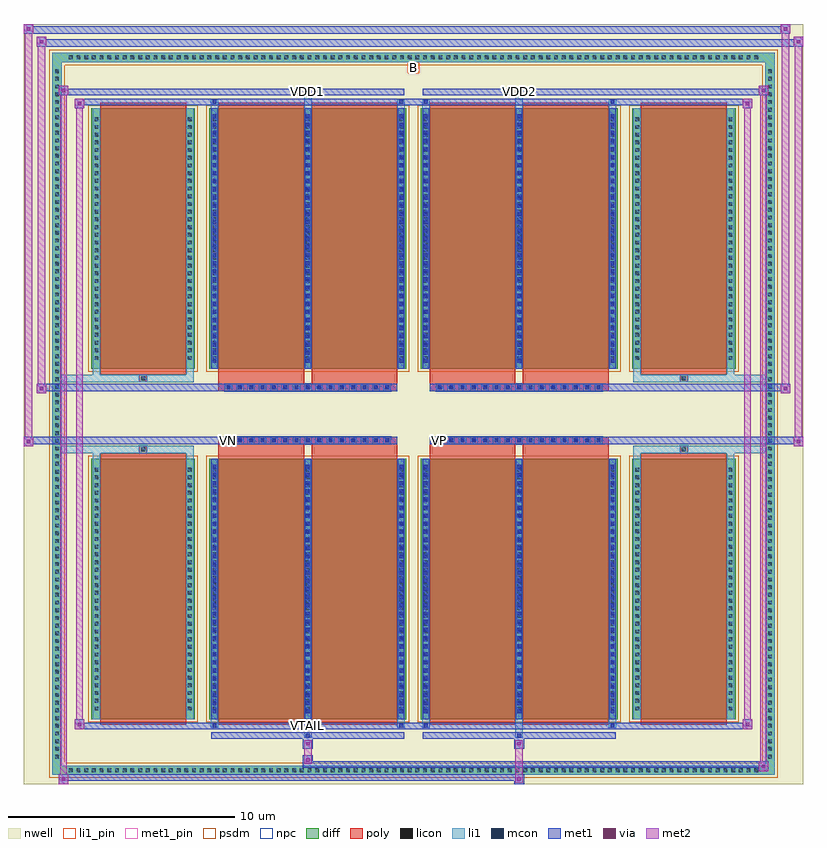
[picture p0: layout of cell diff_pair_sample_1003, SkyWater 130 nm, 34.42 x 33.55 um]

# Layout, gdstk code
import gdstk
lib = gdstk.Library(unit=1e-6, precision=5e-09)
def R(c, l, rs):  # rectangles x0, y0, x1, y1
    for r in rs: c.add(gdstk.rectangle(r[:2], r[2:], *l))
def A(c, l, x, y, w, h, nx, ny, dx, dy):  # array of equal rectangles
    R(c, l, [(x+i*dx, y+j*dy, x+i*dx+w, y+j*dy+h) for i in range(nx) for j in range(ny)])
def P(c, l, *ps):  # polygons
    for p in ps: c.add(gdstk.Polygon(p, *l))
nwell = (64, 20)
diff = (65, 20)
poly = (66, 20)
licon = (66, 44)
li1_pin = (67, 16)
li1 = (67, 20)
mcon = (67, 44)
met1_pin = (68, 16)
met1 = (68, 20)
via = (68, 44)
met2 = (69, 20)
psdm = (94, 20)
npc = (95, 20)

diff_pair_sample_1003 = lib.new_cell('diff_pair_sample_1003')
R(diff_pair_sample_1003, nwell, [(-17.21,-16.34,17.21,17.21), (-14.53,-14.53,-0.01,-0.805), (0.01,-14.53,14.53,-0.805), (-14.53,0.805,-0.01,14.53), (0.01,0.805,14.53,14.53)])
A(diff_pair_sample_1003, diff, -15.335, -15.94, 0.41, 0.41, 90, 2, 0.34, 31.47)
A(diff_pair_sample_1003, diff, -15.94, -15.335, 0.41, 0.41, 1, 90, 0, 0.34)
A(diff_pair_sample_1003, diff, 15.53, -15.335, 0.41, 0.41, 1, 90, 0, 0.34)
R(diff_pair_sample_1003, diff, [(-15.335,-15.94,15.335,-15.53), (-15.94,-15.335,-15.53,15.335), (15.53,-15.335,15.94,15.335), (-14.22,-13.485,-9.65,-1.985), (-9.01,-13.485,-0.32,-1.985), (0.32,-13.485,9.01,-1.985), (9.65,-13.485,14.22,-1.985), (-14.22,1.985,-9.65,13.485), (-9.01,1.985,-0.32,13.485), (0.32,1.985,9.01,13.485), (9.65,1.985,14.22,13.485), (-15.335,15.53,15.335,15.94)])
P(diff_pair_sample_1003, diff, [(15.94,15.94),(-15.94,15.94),(-15.94,-15.53),(-15.53,-15.53),(-15.53,15.53),(15.53,15.53),(15.53,-15.53),(-15.53,-15.53),(-15.94,-15.53),(-15.94,-15.94),(15.94,-15.94)])
A(diff_pair_sample_1003, poly, -8.33, -1.335, 0.33, 0.33, 15, 2, 0.5, 2.34)
A(diff_pair_sample_1003, poly, 1, -1.335, 0.33, 0.33, 15, 2, 0.5, 2.34)
R(diff_pair_sample_1003, poly, [(-13.83,-13.735,-10.04,-1.735), (-8.62,-13.735,-4.83,-1.735), (-4.5,-13.735,-0.71,-1.735), (0.71,-13.735,4.5,-1.735), (4.83,-13.735,8.62,-1.735), (10.04,-13.735,13.83,-1.735), (-12.1,-1.735,-11.77,-1.405), (-12.1,-1.735,-11.77,-1.405), (-8.62,-1.735,-4.83,-1.335), (-4.5,-1.735,-0.71,-1.335), (0.71,-1.735,4.5,-1.335), (4.83,-1.735,8.62,-1.335), (11.77,-1.735,12.1,-1.405), (11.77,-1.735,12.1,-1.405), (-8.62,-1.335,-0.71,-1.005), (0.71,-1.335,8.62,-1.005), (-8.62,1.005,-0.71,1.335), (0.71,1.005,8.62,1.335), (-8.62,1.335,-4.83,1.735), (-4.5,1.335,-0.71,1.735), (0.71,1.335,4.5,1.735), (4.83,1.335,8.62,1.735), (-12.1,1.405,-11.77,1.735), (-12.1,1.405,-11.77,1.735), (11.77,1.405,12.1,1.735), (11.77,1.405,12.1,1.735), (-13.83,1.735,-10.04,13.735), (-8.62,1.735,-4.83,13.735), (-4.5,1.735,-0.71,13.735), (0.71,1.735,4.5,13.735), (4.83,1.735,8.62,13.735), (10.04,1.735,13.83,13.735)])
A(diff_pair_sample_1003, licon, -15.215, -15.82, 0.17, 0.17, 90, 2, 0.34, 31.47)
A(diff_pair_sample_1003, licon, -15.82, -15.215, 0.17, 0.17, 1, 90, 0, 0.34)
A(diff_pair_sample_1003, licon, 15.65, -15.215, 0.17, 0.17, 1, 90, 0, 0.34)
A(diff_pair_sample_1003, licon, -14.08, -13.09, 0.17, 0.17, 1, 32, 0, 0.34)
A(diff_pair_sample_1003, licon, -9.96, -13.09, 0.17, 0.17, 1, 32, 0, 0.34)
A(diff_pair_sample_1003, licon, -8.87, -13.09, 0.17, 0.17, 3, 32, 4.12, 0.34)
A(diff_pair_sample_1003, licon, 0.46, -13.09, 0.17, 0.17, 3, 32, 4.12, 0.34)
A(diff_pair_sample_1003, licon, 9.79, -13.09, 0.17, 0.17, 1, 32, 0, 0.34)
A(diff_pair_sample_1003, licon, 13.91, -13.09, 0.17, 0.17, 1, 32, 0, 0.34)
A(diff_pair_sample_1003, licon, -8.25, -1.255, 0.17, 0.17, 15, 2, 0.5, 2.34)
A(diff_pair_sample_1003, licon, 1.08, -1.255, 0.17, 0.17, 15, 2, 0.5, 2.34)
A(diff_pair_sample_1003, licon, -14.08, 2.38, 0.17, 0.17, 1, 32, 0, 0.34)
A(diff_pair_sample_1003, licon, -9.96, 2.38, 0.17, 0.17, 1, 32, 0, 0.34)
A(diff_pair_sample_1003, licon, -8.87, 2.38, 0.17, 0.17, 3, 32, 4.12, 0.34)
A(diff_pair_sample_1003, licon, 0.46, 2.38, 0.17, 0.17, 3, 32, 4.12, 0.34)
A(diff_pair_sample_1003, licon, 9.79, 2.38, 0.17, 0.17, 1, 32, 0, 0.34)
A(diff_pair_sample_1003, licon, 13.91, 2.38, 0.17, 0.17, 1, 32, 0, 0.34)
R(diff_pair_sample_1003, licon, [(-12.02,-1.655,-11.85,-1.485), (11.85,-1.655,12.02,-1.485), (-12.02,1.485,-11.85,1.655), (11.85,1.485,12.02,1.655)])
R(diff_pair_sample_1003, li1_pin, [(-0.25,15.03,0.25,15.53)])
A(diff_pair_sample_1003, li1, -15.295, -15.9, 0.33, 0.33, 90, 2, 0.34, 31.47)
A(diff_pair_sample_1003, li1, -15.9, -15.295, 0.33, 0.33, 1, 90, 0, 0.34)
A(diff_pair_sample_1003, li1, 15.57, -15.295, 0.33, 0.33, 1, 90, 0, 0.34)
A(diff_pair_sample_1003, li1, -8.95, -13.485, 0.33, 11.5, 3, 2, 4.12, 15.47)
A(diff_pair_sample_1003, li1, 0.38, -13.485, 0.33, 11.5, 3, 2, 4.12, 15.47)
A(diff_pair_sample_1003, li1, -8.87, -13.22, 0.17, 0.17, 3, 31, 4.12, 0.36)
A(diff_pair_sample_1003, li1, -8.87, -13.22, 0.17, 10.97, 3, 2, 4.12, 15.47)
A(diff_pair_sample_1003, li1, 0.46, -13.22, 0.17, 0.17, 3, 31, 4.12, 0.36)
A(diff_pair_sample_1003, li1, 0.46, -13.22, 0.17, 10.97, 3, 2, 4.12, 15.47)
A(diff_pair_sample_1003, li1, -14.16, -13.17, 0.33, 0.33, 1, 32, 0, 0.34)
A(diff_pair_sample_1003, li1, -10.04, -13.17, 0.33, 0.33, 1, 32, 0, 0.34)
A(diff_pair_sample_1003, li1, -8.95, -13.17, 0.33, 0.33, 3, 32, 4.12, 0.34)
A(diff_pair_sample_1003, li1, 0.38, -13.17, 0.33, 0.33, 3, 32, 4.12, 0.34)
A(diff_pair_sample_1003, li1, 9.71, -13.17, 0.33, 0.33, 1, 32, 0, 0.34)
A(diff_pair_sample_1003, li1, 13.83, -13.17, 0.33, 0.33, 1, 32, 0, 0.34)
A(diff_pair_sample_1003, li1, -8.33, -1.335, 0.33, 0.33, 15, 2, 0.5, 2.34)
A(diff_pair_sample_1003, li1, 1, -1.335, 0.33, 0.33, 15, 2, 0.5, 2.34)
A(diff_pair_sample_1003, li1, -8.87, 2.25, 0.17, 0.17, 3, 31, 4.12, 0.36)
A(diff_pair_sample_1003, li1, 0.46, 2.25, 0.17, 0.17, 3, 31, 4.12, 0.36)
A(diff_pair_sample_1003, li1, -14.16, 2.3, 0.33, 0.33, 1, 32, 0, 0.34)
A(diff_pair_sample_1003, li1, -10.04, 2.3, 0.33, 0.33, 1, 32, 0, 0.34)
A(diff_pair_sample_1003, li1, -8.95, 2.3, 0.33, 0.33, 3, 32, 4.12, 0.34)
A(diff_pair_sample_1003, li1, 0.38, 2.3, 0.33, 0.33, 3, 32, 4.12, 0.34)
A(diff_pair_sample_1003, li1, 9.71, 2.3, 0.33, 0.33, 1, 32, 0, 0.34)
A(diff_pair_sample_1003, li1, 13.83, 2.3, 0.33, 0.33, 1, 32, 0, 0.34)
R(diff_pair_sample_1003, li1, [(-15.94,-15.94,-15.53,-15.53), (-15.94,-15.94,-15.53,-15.53), (-15.53,-15.94,15.53,-15.53), (15.53,-15.94,15.94,-15.53), (15.53,-15.94,15.94,-15.53), (-15.94,-15.53,-15.53,15.53), (15.53,-15.53,15.94,15.53), (-4.83,-14.29,-4.5,-13.485), (-4.75,-14.29,-4.58,-14.12), (4.5,-14.29,4.83,-13.485), (4.58,-14.29,4.75,-14.12), (-8.95,-13.86,-8.62,-13.485), (-8.87,-13.86,-8.7,-13.69), (-0.71,-13.86,-0.38,-13.485), (-0.63,-13.86,-0.46,-13.69), (0.38,-13.86,0.71,-13.485), (0.46,-13.86,0.63,-13.69), (8.62,-13.86,8.95,-13.485), (8.7,-13.86,8.87,-13.69), (-14.16,-13.485,-13.83,-1.985), (-10.04,-13.485,-9.71,-1.985), (9.71,-13.485,10.04,-1.985), (13.83,-13.485,14.16,-1.985), (-14.16,-1.985,-13.83,-1.405), (-10.04,-1.985,-9.71,-1.405), (9.71,-1.985,10.04,-1.405), (13.83,-1.985,14.16,-1.405), (-15.94,-1.735,-12.1,-1.405), (-14.16,-1.735,-12.1,-1.405), (-12.1,-1.735,-11.77,-1.405), (-11.77,-1.735,-9.71,-1.405), (9.71,-1.735,11.77,-1.405), (11.77,-1.735,12.1,-1.405), (11.77,-1.735,15.94,-1.405), (12.1,-1.735,14.16,-1.405), (-15.94,1.405,-12.1,1.735), (-14.16,1.405,-12.1,1.735), (-14.16,1.405,-13.83,1.985), (-12.1,1.405,-11.77,1.735), (-11.77,1.405,-9.71,1.735), (-10.04,1.405,-9.71,1.985), (9.71,1.405,11.77,1.735), (9.71,1.405,10.04,1.985), (11.77,1.405,12.1,1.735), (11.77,1.405,15.94,1.735), (12.1,1.405,14.16,1.735), (13.83,1.405,14.16,1.985), (-14.16,1.985,-13.83,13.485), (-10.04,1.985,-9.71,13.485), (9.71,1.985,10.04,13.485), (13.83,1.985,14.16,13.485), (-8.95,13.485,-8.62,13.86), (-4.83,13.485,-4.5,14.29), (-0.71,13.485,-0.38,13.86), (0.38,13.485,0.71,13.86), (4.5,13.485,4.83,14.29), (8.62,13.485,8.95,13.86), (-8.87,13.69,-8.7,13.86), (-0.63,13.69,-0.46,13.86), (0.46,13.69,0.63,13.86), (8.7,13.69,8.87,13.86), (-4.75,14.12,-4.58,14.29), (4.58,14.12,4.75,14.29), (-15.94,15.53,-15.53,15.94), (-15.94,15.53,-15.53,15.94), (-15.53,15.53,15.53,15.94), (15.53,15.53,15.94,15.94), (15.53,15.53,15.94,15.94)])
A(diff_pair_sample_1003, mcon, -8.87, -13.22, 0.17, 0.17, 3, 31, 4.12, 0.36)
A(diff_pair_sample_1003, mcon, 0.46, -13.22, 0.17, 0.17, 3, 31, 4.12, 0.36)
A(diff_pair_sample_1003, mcon, -8.25, -1.255, 0.17, 0.17, 15, 2, 0.5, 2.34)
A(diff_pair_sample_1003, mcon, 1.08, -1.255, 0.17, 0.17, 15, 2, 0.5, 2.34)
A(diff_pair_sample_1003, mcon, -8.87, 2.25, 0.17, 0.17, 3, 31, 4.12, 0.36)
A(diff_pair_sample_1003, mcon, 0.46, 2.25, 0.17, 0.17, 3, 31, 4.12, 0.36)
R(diff_pair_sample_1003, mcon, [(-4.75,-14.29,-4.58,-14.12), (4.58,-14.29,4.75,-14.12), (-8.87,-13.86,-8.7,-13.69), (-0.63,-13.86,-0.46,-13.69), (0.46,-13.86,0.63,-13.69), (8.7,-13.86,8.87,-13.69), (-8.87,13.69,-8.7,13.86), (-0.63,13.69,-0.46,13.86), (0.46,13.69,0.63,13.86), (8.7,13.69,8.87,13.86), (-4.75,14.12,-4.58,14.29), (4.58,14.12,4.75,14.29)])
R(diff_pair_sample_1003, met1_pin, [(-4.8,-13.9,-4.53,-13.63), (-8.3,-1.295,-8.03,-1.025), (1.03,-1.295,1.3,-1.025), (-4.8,14.08,-4.53,14.35), (4.53,14.08,4.8,14.35)])
A(diff_pair_sample_1003, met1, -8.93, -13.485, 0.29, 11.5, 3, 2, 4.12, 15.47)
A(diff_pair_sample_1003, met1, 0.4, -13.485, 0.29, 11.5, 3, 2, 4.12, 15.47)
A(diff_pair_sample_1003, met1, -8.93, -13.28, 0.29, 0.29, 3, 31, 4.12, 0.36)
A(diff_pair_sample_1003, met1, 0.4, -13.28, 0.29, 0.29, 3, 31, 4.12, 0.36)
A(diff_pair_sample_1003, met1, -8.31, -1.315, 0.29, 0.29, 15, 2, 0.5, 2.34)
A(diff_pair_sample_1003, met1, 1.02, -1.315, 0.29, 0.29, 15, 2, 0.5, 2.34)
A(diff_pair_sample_1003, met1, -8.93, 2.19, 0.29, 0.29, 3, 31, 4.12, 0.36)
A(diff_pair_sample_1003, met1, 0.4, 2.19, 0.29, 0.29, 3, 31, 4.12, 0.36)
R(diff_pair_sample_1003, met1, [(-15.67,-16.34,-15.24,-15.91), (4.45,-16.34,4.88,-15.91), (-15.67,-16.2,4.88,-15.91), (15.24,-15.77,15.67,-15.34), (-4.88,-15.63,15.67,-15.34), (-4.88,-15.49,-4.45,-15.06), (-4.88,-14.78,-4.45,-14.35), (4.45,-14.78,4.88,-14.35), (-8.93,-14.35,-0.4,-14.06), (-4.81,-14.35,-4.52,-14.06), (0.4,-14.35,8.93,-14.06), (4.52,-14.35,4.81,-14.06), (-14.96,-13.92,-14.53,-13.49), (-14.96,-13.92,-8.93,-13.63), (-8.93,-13.92,-8.64,-13.63), (-8.93,-13.92,-0.4,-13.63), (-0.69,-13.92,-0.4,-13.63), (-0.4,-13.92,0.4,-13.63), (0.4,-13.92,0.69,-13.63), (0.4,-13.92,8.93,-13.63), (8.64,-13.92,8.93,-13.63), (8.93,-13.92,14.96,-13.63), (14.53,-13.92,14.96,-13.49), (-17.21,-1.435,-16.78,-1.005), (16.78,-1.435,17.21,-1.005), (-17.21,-1.335,-0.71,-1.005), (-8.62,-1.335,-0.71,-1.005), (0.71,-1.335,8.62,-1.005), (0.71,-1.335,17.21,-1.005), (-16.64,0.905,-16.21,1.335), (16.21,0.905,16.64,1.335), (-16.64,1.005,-8.62,1.335), (-8.62,1.005,-0.71,1.335), (0.71,1.005,8.62,1.335), (8.62,1.005,16.64,1.335), (-14.96,13.49,-14.53,13.92), (14.53,13.49,14.96,13.92), (-14.96,13.63,-8.93,13.92), (-8.93,13.63,-8.64,13.92), (-8.93,13.63,-0.4,13.92), (-0.69,13.63,-0.4,13.92), (-0.4,13.63,0.4,13.92), (0.4,13.63,0.69,13.92), (0.4,13.63,8.93,13.92), (8.64,13.63,8.93,13.92), (8.93,13.63,14.96,13.92), (-15.67,14.06,-15.24,14.49), (-15.67,14.06,-8.93,14.35), (-8.93,14.06,-0.4,14.35), (-4.81,14.06,-4.52,14.35), (0.4,14.06,8.93,14.35), (4.52,14.06,4.81,14.35), (8.93,14.06,15.67,14.35), (15.24,14.06,15.67,14.49), (-16.64,16.21,-16.21,16.64), (-16.64,16.21,-14.53,16.54), (-14.53,16.21,14.53,16.54), (14.53,16.21,17.21,16.54), (16.78,16.21,17.21,16.64), (-17.21,16.78,-16.78,17.21), (-17.21,16.78,-14.53,17.11), (-14.53,16.78,14.53,17.11), (14.53,16.78,16.64,17.11), (16.21,16.78,16.64,17.21)])
R(diff_pair_sample_1003, via, [(-15.53,-16.2,-15.38,-16.05), (4.59,-16.2,4.74,-16.05), (15.38,-15.63,15.53,-15.48), (-4.74,-15.35,-4.59,-15.2), (-4.74,-14.64,-4.59,-14.49), (4.59,-14.64,4.74,-14.49), (-14.82,-13.78,-14.67,-13.63), (14.67,-13.78,14.82,-13.63), (-17.07,-1.295,-16.92,-1.145), (16.92,-1.295,17.07,-1.145), (-16.5,1.045,-16.35,1.195), (16.35,1.045,16.5,1.195), (-14.82,13.63,-14.67,13.78), (14.67,13.63,14.82,13.78), (-15.53,14.2,-15.38,14.35), (15.38,14.2,15.53,14.35), (-16.5,16.35,-16.35,16.5), (16.92,16.35,17.07,16.5), (-17.07,16.92,-16.92,17.07), (16.35,16.92,16.5,17.07)])
R(diff_pair_sample_1003, met2, [(-15.67,-16.34,-15.24,-15.91), (-15.6,-16.34,-15.31,14.49), (-15.31,-16.34,-15.24,-15.91), (-15.62,-16.29,-15.29,-15.96), (4.5,-16.29,4.83,-15.96), (4.5,-15.96,4.83,-14.73), (15.24,-15.77,15.67,-15.34), (15.31,-15.77,15.6,14.49), (15.6,-15.77,15.67,-15.34), (15.29,-15.72,15.62,-15.39), (-4.83,-15.44,-4.5,-15.11), (-4.83,-15.11,-4.5,-14.73), (-4.83,-14.73,-4.5,-14.4), (4.5,-14.73,4.83,-14.4), (-14.96,-13.92,-14.53,-13.49), (-14.89,-13.92,-14.6,13.92), (-14.6,-13.92,-14.53,-13.49), (14.53,-13.92,14.96,-13.49), (14.6,-13.92,14.89,13.92), (14.89,-13.92,14.96,-13.49), (-14.91,-13.87,-14.58,-13.54), (14.58,-13.87,14.91,-13.54), (-17.21,-1.435,-16.78,-1.005), (-17.16,-1.435,-16.83,17.21), (-16.83,-1.435,-16.78,-1.005), (16.78,-1.435,17.21,-1.005), (16.83,-1.435,17.16,16.64), (17.16,-1.435,17.21,-1.005), (-17.16,-1.385,-16.83,-1.055), (16.83,-1.385,17.16,-1.055), (-16.64,0.905,-16.21,1.335), (-16.59,0.905,-16.26,16.64), (-16.26,0.905,-16.21,1.335), (16.21,0.905,16.64,1.335), (16.26,0.905,16.59,17.21), (16.59,0.905,16.64,1.335), (-16.59,0.955,-16.26,1.285), (16.26,0.955,16.59,1.285), (-14.96,13.49,-14.53,13.92), (-14.6,13.49,-14.53,13.92), (14.53,13.49,14.96,13.92), (14.89,13.49,14.96,13.92), (-14.91,13.54,-14.58,13.87), (14.58,13.54,14.91,13.87), (-15.67,14.06,-15.24,14.49), (-15.31,14.06,-15.24,14.49), (15.24,14.06,15.67,14.49), (15.6,14.06,15.67,14.49), (-15.62,14.11,-15.29,14.44), (15.29,14.11,15.62,14.44), (-16.64,16.21,-16.21,16.64), (-16.26,16.21,-16.21,16.64), (16.78,16.21,17.21,16.64), (17.16,16.21,17.21,16.64), (-16.59,16.26,-16.26,16.59), (16.83,16.26,17.16,16.59), (-17.21,16.78,-16.78,17.21), (-16.83,16.78,-16.78,17.21), (16.21,16.78,16.64,17.21), (16.59,16.78,16.64,17.21), (-17.16,16.83,-16.83,17.16), (16.26,16.83,16.59,17.16)])
R(diff_pair_sample_1003, psdm, [(-14.35,-13.615,-9.52,-1.855), (-9.14,-13.615,-0.19,-1.855), (0.19,-13.615,9.14,-1.855), (9.52,-13.615,14.35,-1.855), (-14.35,1.855,-9.52,13.615), (-9.14,1.855,-0.19,13.615), (0.19,1.855,9.14,13.615), (9.52,1.855,14.35,13.615)])
P(diff_pair_sample_1003, psdm, [(16.07,16.07),(-16.07,16.07),(-16.07,-15.4),(-15.4,-15.4),(-15.4,15.4),(15.4,15.4),(15.4,-15.4),(-15.4,-15.4),(-16.07,-15.4),(-16.07,-16.07),(16.07,-16.07)])
A(diff_pair_sample_1003, npc, -8.35, -1.355, 0.37, 0.37, 15, 2, 0.5, 2.34)
A(diff_pair_sample_1003, npc, 0.98, -1.355, 0.37, 0.37, 15, 2, 0.5, 2.34)
R(diff_pair_sample_1003, npc, [(-12.12,-1.755,-11.75,-1.385), (11.75,-1.755,12.12,-1.385), (-8.35,-1.355,-7.48,-0.985), (-8.35,-1.355,-7.48,-0.985), (-7.85,-1.355,-6.98,-0.985), (-7.85,-1.355,-6.98,-0.985), (-7.35,-1.355,-6.48,-0.985), (-7.35,-1.355,-6.48,-0.985), (-6.85,-1.355,-5.98,-0.985), (-6.85,-1.355,-5.98,-0.985), (-6.35,-1.355,-5.48,-0.985), (-6.35,-1.355,-5.48,-0.985), (-5.85,-1.355,-4.98,-0.985), (-5.85,-1.355,-4.98,-0.985), (-5.35,-1.355,-4.48,-0.985), (-5.35,-1.355,-4.48,-0.985), (-4.85,-1.355,-3.98,-0.985), (-4.85,-1.355,-3.98,-0.985), (-4.35,-1.355,-3.48,-0.985), (-4.35,-1.355,-3.48,-0.985), (-3.85,-1.355,-2.98,-0.985), (-3.85,-1.355,-2.98,-0.985), (-3.35,-1.355,-2.48,-0.985), (-3.35,-1.355,-2.48,-0.985), (-2.85,-1.355,-1.98,-0.985), (-2.85,-1.355,-1.98,-0.985), (-2.35,-1.355,-1.48,-0.985), (-2.35,-1.355,-1.48,-0.985), (-1.85,-1.355,-0.98,-0.985), (-1.85,-1.355,-0.98,-0.985), (0.98,-1.355,1.85,-0.985), (0.98,-1.355,1.85,-0.985), (1.48,-1.355,2.35,-0.985), (1.48,-1.355,2.35,-0.985), (1.98,-1.355,2.85,-0.985), (1.98,-1.355,2.85,-0.985), (2.48,-1.355,3.35,-0.985), (2.48,-1.355,3.35,-0.985), (2.98,-1.355,3.85,-0.985), (2.98,-1.355,3.85,-0.985), (3.48,-1.355,4.35,-0.985), (3.48,-1.355,4.35,-0.985), (3.98,-1.355,4.85,-0.985), (3.98,-1.355,4.85,-0.985), (4.48,-1.355,5.35,-0.985), (4.48,-1.355,5.35,-0.985), (4.98,-1.355,5.85,-0.985), (4.98,-1.355,5.85,-0.985), (5.48,-1.355,6.35,-0.985), (5.48,-1.355,6.35,-0.985), (5.98,-1.355,6.85,-0.985), (5.98,-1.355,6.85,-0.985), (6.48,-1.355,7.35,-0.985), (6.48,-1.355,7.35,-0.985), (6.98,-1.355,7.85,-0.985), (6.98,-1.355,7.85,-0.985), (7.48,-1.355,8.35,-0.985), (7.48,-1.355,8.35,-0.985), (-8.35,0.985,-7.48,1.355), (-8.35,0.985,-7.48,1.355), (-7.85,0.985,-6.98,1.355), (-7.85,0.985,-6.98,1.355), (-7.35,0.985,-6.48,1.355), (-7.35,0.985,-6.48,1.355), (-6.85,0.985,-5.98,1.355), (-6.85,0.985,-5.98,1.355), (-6.35,0.985,-5.48,1.355), (-6.35,0.985,-5.48,1.355), (-5.85,0.985,-4.98,1.355), (-5.85,0.985,-4.98,1.355), (-5.35,0.985,-4.48,1.355), (-5.35,0.985,-4.48,1.355), (-4.85,0.985,-3.98,1.355), (-4.85,0.985,-3.98,1.355), (-4.35,0.985,-3.48,1.355), (-4.35,0.985,-3.48,1.355), (-3.85,0.985,-2.98,1.355), (-3.85,0.985,-2.98,1.355), (-3.35,0.985,-2.48,1.355), (-3.35,0.985,-2.48,1.355), (-2.85,0.985,-1.98,1.355), (-2.85,0.985,-1.98,1.355), (-2.35,0.985,-1.48,1.355), (-2.35,0.985,-1.48,1.355), (-1.85,0.985,-0.98,1.355), (-1.85,0.985,-0.98,1.355), (0.98,0.985,1.85,1.355), (0.98,0.985,1.85,1.355), (1.48,0.985,2.35,1.355), (1.48,0.985,2.35,1.355), (1.98,0.985,2.85,1.355), (1.98,0.985,2.85,1.355), (2.48,0.985,3.35,1.355), (2.48,0.985,3.35,1.355), (2.98,0.985,3.85,1.355), (2.98,0.985,3.85,1.355), (3.48,0.985,4.35,1.355), (3.48,0.985,4.35,1.355), (3.98,0.985,4.85,1.355), (3.98,0.985,4.85,1.355), (4.48,0.985,5.35,1.355), (4.48,0.985,5.35,1.355), (4.98,0.985,5.85,1.355), (4.98,0.985,5.85,1.355), (5.48,0.985,6.35,1.355), (5.48,0.985,6.35,1.355), (5.98,0.985,6.85,1.355), (5.98,0.985,6.85,1.355), (6.48,0.985,7.35,1.355), (6.48,0.985,7.35,1.355), (6.98,0.985,7.85,1.355), (6.98,0.985,7.85,1.355), (7.48,0.985,8.35,1.355), (7.48,0.985,8.35,1.355), (-12.12,1.385,-11.75,1.755), (11.75,1.385,12.12,1.755)])
diff_pair_sample_1003.add(gdstk.Label('VTAIL', (-4.665,-13.765), layer=68, texttype=5))
diff_pair_sample_1003.add(gdstk.Label('VN', (-8.165,-1.16), layer=68, texttype=5))
diff_pair_sample_1003.add(gdstk.Label('VP', (1.165,-1.16), layer=68, texttype=5))
diff_pair_sample_1003.add(gdstk.Label('B', (0,15.28), layer=67, texttype=5))
diff_pair_sample_1003.add(gdstk.Label('VDD2', (4.665,14.215), layer=68, texttype=5))
diff_pair_sample_1003.add(gdstk.Label('VDD1', (-4.665,14.215), layer=68, texttype=5))

lib.write_gds('diff_pair_sample_1003.gds')
